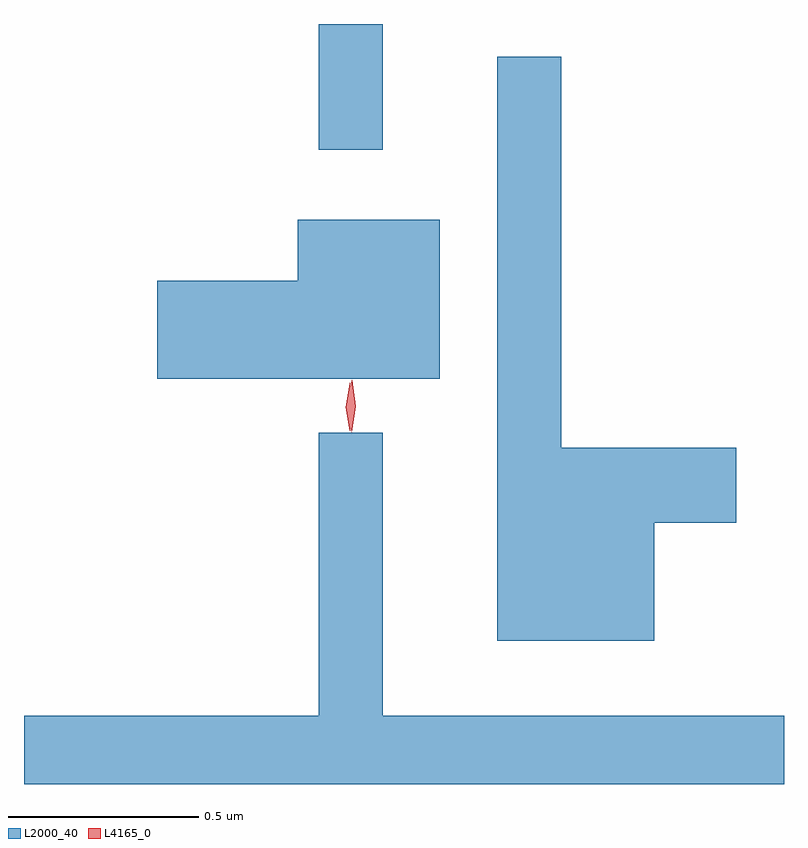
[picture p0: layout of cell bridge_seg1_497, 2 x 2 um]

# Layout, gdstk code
import gdstk
lib = gdstk.Library(unit=1e-6, precision=1e-09)
def R(c, l, rs):  # rectangles x0, y0, x1, y1
    for r in rs: c.add(gdstk.rectangle(r[:2], r[2:], *l))
def P(c, l, *ps):  # polygons
    for p in ps: c.add(gdstk.Polygon(p, *l))
L2000_40 = (2000, 40)
L4165_0 = (4165, 0)

bridge_seg1_497 = lib.new_cell('bridge_seg1_497')
R(bridge_seg1_497, L2000_40, [(511.351,850.273,511.519,850.604)])
P(bridge_seg1_497, L2000_40, [(512.234,849.291),(512.449,849.291),(512.449,849.489),(511.989,849.489),(511.989,850.518),(511.821,850.518),(511.821,848.981),(512.234,848.981)],
  [(511.669,850.089),(511.296,850.089),(511.296,849.929),(510.926,849.929),(510.926,849.671),(511.669,849.671)],
  [(512.575,848.784),(511.519,848.784),(511.519,849.528),(511.351,849.528),(511.351,848.784),(510.575,848.784),(510.575,848.604),(512.575,848.604)])
P(bridge_seg1_497, L4165_0, [(511.432,849.533),(511.432,849.533),(511.422,849.596),(511.432,849.659),(511.432,849.66),(511.433,849.659),(511.442,849.596),(511.433,849.533)],
  [(511.437,849.53),(511.437,849.53),(511.428,849.598),(511.438,849.666),(511.439,849.666),(511.439,849.666),(511.448,849.598),(511.438,849.53)])

lib.write_gds('bridge_seg1_497.gds')
